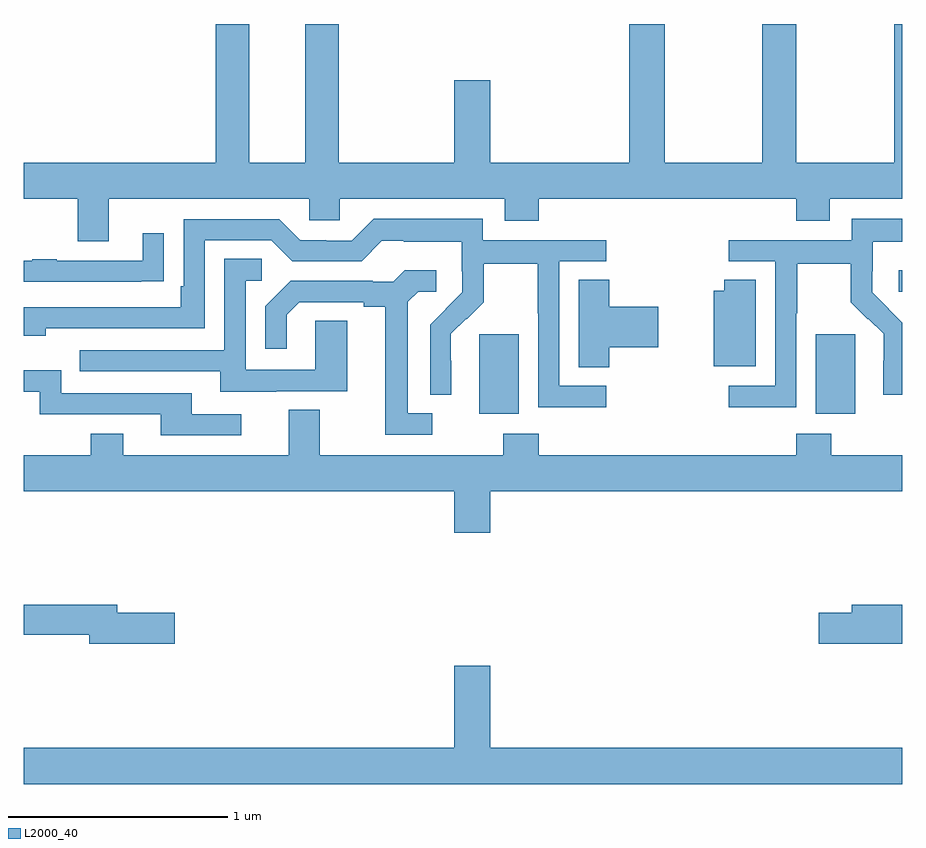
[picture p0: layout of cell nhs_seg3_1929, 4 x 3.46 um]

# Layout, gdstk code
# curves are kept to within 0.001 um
import gdstk
lib = gdstk.Library(unit=1e-6, precision=1e-09)
def R(c, l, rs):  # rectangles x0, y0, x1, y1
    for r in rs: c.add(gdstk.rectangle(r[:2], r[2:], *l))
def P(c, l, *ps):  # polygons
    for p in ps: c.add(gdstk.Polygon(p, *l))
L2000_40 = (2000, 40)

nhs_seg3_1929 = lib.new_cell('nhs_seg3_1929')
R(nhs_seg3_1929, L2000_40, [(213.074,678.626,213.253,678.987), (214.607,678.626,214.786,678.987), (214.983,679.182,215,679.279)])
P(nhs_seg3_1929, L2000_40, [(211.387,679.604),(212.301,679.604),(212.301,679.506),(212.439,679.506),(212.439,679.604),(213.191,679.604),(213.191,679.505),(213.344,679.505),(213.344,679.604),(214.517,679.604),(214.517,679.505),(214.669,679.505),(214.669,679.604),(215,679.604),(215,680.4),(214.963,680.4),(214.963,679.768),(214.518,679.768),(214.518,680.4),(214.363,680.4),(214.363,679.768),(213.918,679.768),(213.918,680.4),(213.758,680.4),(213.758,679.768),(213.124,679.768),(213.124,680.143),(212.96,680.143),(212.96,679.768),(212.435,679.768),(212.435,680.4),(212.282,680.4),(212.282,679.768),(212.026,679.768),(212.026,680.4),(211.874,680.4),(211.874,679.768),(211,679.768),(211,679.604),(211.247,679.604),(211.247,679.41),(211.387,679.41)],
  [(214.518,679.084),(214.521,679.084),(214.521,679.308),(214.765,679.308),(214.765,679.133),(214.842,679.056),(214.845,679.059),(214.916,678.989),(214.916,678.866),(214.914,678.866),(214.914,678.712),(215,678.712),(215,679.04),(214.864,679.178),(214.864,679.275),(214.866,679.275),(214.866,679.409),(215,679.409),(215,679.513),(214.77,679.513),(214.77,679.416),(214.209,679.416),(214.209,679.32),(214.422,679.32),(214.422,678.753),(214.209,678.753),(214.209,678.655),(214.518,678.655)],
  [(213.652,678.753),(213.438,678.753),(213.438,679.32),(213.652,679.32),(213.652,679.416),(213.09,679.416),(213.09,679.513),(212.593,679.513),(212.493,679.413),(212.378,679.413),(212.378,679.416),(212.259,679.416),(212.163,679.512),(211.728,679.512),(211.728,679.207),(211.715,679.207),(211.715,679.11),(211,679.11),(211,678.98),(211.1,678.98),(211.1,679.014),(211.824,679.014),(211.824,679.416),(212.127,679.416),(212.223,679.32),(212.538,679.32),(212.631,679.413),(212.731,679.413),(212.731,679.409),(212.994,679.409),(212.994,679.275),(212.996,679.275),(212.996,679.178),(212.85,679.03),(212.85,678.712),(212.946,678.712),(212.945,678.989),(213.015,679.059),(213.018,679.056),(213.095,679.133),(213.095,679.308),(213.34,679.308),(213.34,679.084),(213.342,679.084),(213.342,678.655),(213.652,678.655)],
  [(211.535,679.228),(211.637,679.228),(211.637,679.447),(211.541,679.447),(211.541,679.323),(211.151,679.323),(211.151,679.328),(211.039,679.328),(211.039,679.323),(211,679.323),(211,679.227),(211.535,679.227)],
  [(212.149,678.729),(212.473,678.729),(212.473,679.049),(212.328,679.049),(212.328,678.825),(212.01,678.825),(212.01,679.23),(212.083,679.23),(212.083,679.331),(211.914,679.331),(211.914,678.915),(211.255,678.915),(211.255,678.819),(211.895,678.819),(211.895,678.725),(212.149,678.725)],
  [(212.86,678.627),(212.749,678.627),(212.749,679.135),(212.796,679.182),(212.878,679.182),(212.878,679.279),(212.734,679.279),(212.682,679.227),(212.588,679.227),(212.588,679.23),(212.216,679.23),(212.1,679.114),(212.1,678.921),(212.197,678.921),(212.197,679.077),(212.254,679.134),(212.549,679.134),(212.549,679.112),(212.645,679.112),(212.645,678.531),(212.86,678.531)],
  [(214.333,679.235),(214.19,679.235),(214.19,679.186),(214.142,679.186),(214.142,678.842),(214.333,678.842)],
  [(213.666,678.929),(213.889,678.929),(213.889,679.112),(213.666,679.112),(213.666,679.235),(213.527,679.235),(213.527,678.838),(213.666,678.838)],
  [(211.99,678.624),(211.765,678.624),(211.765,678.72),(211.17,678.72),(211.17,678.823),(211,678.823),(211,678.726),(211.074,678.726),(211.074,678.624),(211.625,678.624),(211.625,678.528),(211.99,678.528)],
  [(213.124,678.272),(215,678.272),(215,678.436),(214.677,678.436),(214.677,678.535),(214.517,678.535),(214.517,678.436),(213.344,678.436),(213.344,678.535),(213.184,678.535),(213.184,678.436),(212.347,678.436),(212.347,678.644),(212.207,678.644),(212.207,678.436),(211.453,678.436),(211.453,678.535),(211.306,678.535),(211.306,678.436),(211,678.436),(211,678.272),(212.96,678.272),(212.96,678.084),(213.124,678.084)],
  [(215,677.756),(214.769,677.756),(214.769,677.72),(214.62,677.72),(214.62,677.578),(215,677.578)],
  [(211.687,677.72),(211.426,677.72),(211.426,677.756),(211,677.756),(211,677.62),(211.298,677.62),(211.298,677.578),(211.687,677.578)],
  [(215,677.104),(213.124,677.104),(213.124,677.479),(212.96,677.479),(212.96,677.104),(211,677.104),(211,676.94),(215,676.94)])

lib.write_gds('nhs_seg3_1929.gds')
